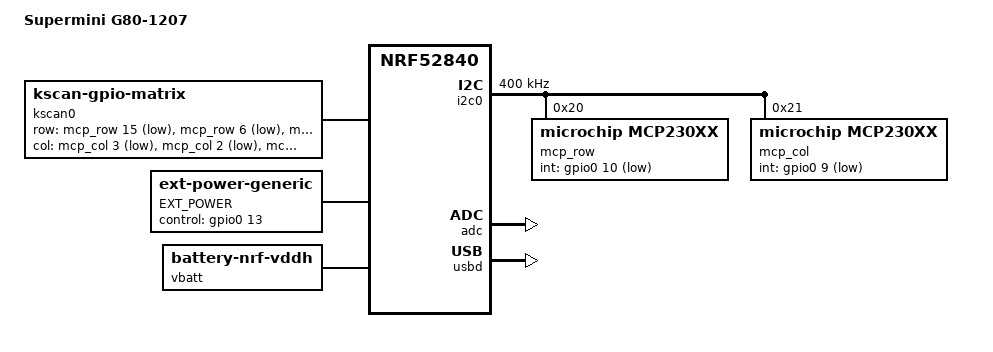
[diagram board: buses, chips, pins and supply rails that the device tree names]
/*
 * Copyright (c) 2025 DEEMEN17 WORKS
 *
 * SPDX-License-Identifier: MIT
 */

/dts-v1/;
#include <nordic/nrf52840_qiaa.dtsi>
#include <dt-bindings/led/led.h>

#include "supermini_g80_1207-transforms.dtsi"
#include "supermini_g80_1207-pinctrl.dtsi"
#include "supermini_g80_1207-layouts.dtsi"


/ {
    model = "Supermini G80-1207";
    compatible = "DEEMEN17-WORKS";

    chosen {
        zephyr,code-partition = &code_partition;
        zephyr,sram = &sram0;
        zephyr,flash = &flash0;
        zmk,battery = &vbatt;
        zmk,kscan = &kscan0;
        // zmk,matrix-transform = &default_transform;
        zmk,studio-rpc-uart = &cdc_acm_uart;
    };

    kscan0: kscan {
        compatible = "zmk,kscan-gpio-matrix";
        wakeup-source;

        // diode-direction = "col2row";
        // row-gpios
        //     = <&gpio0 17  (GPIO_ACTIVE_HIGH | GPIO_PULL_DOWN)>   /* ROW 0 */
        //     , <&gpio0 22  (GPIO_ACTIVE_HIGH | GPIO_PULL_DOWN)>   /* ROW 1 */
        //     , <&gpio0 11  (GPIO_ACTIVE_HIGH | GPIO_PULL_DOWN)>   /* ROW 2 */
        //     , <&gpio1  4  (GPIO_ACTIVE_HIGH | GPIO_PULL_DOWN)>   /* ROW 3 */
        //     , <&gpio0  9  (GPIO_ACTIVE_HIGH | GPIO_PULL_DOWN)>   /* ROW 4 TRUE */
        //     , <&gpio0 31  (GPIO_ACTIVE_HIGH | GPIO_PULL_DOWN)>   /* ROW 5 */
        //     , <&gpio0 29  (GPIO_ACTIVE_HIGH | GPIO_PULL_DOWN)>   /* ROW 6 */
        //     , <&gpio0  2  (GPIO_ACTIVE_HIGH | GPIO_PULL_DOWN)>   /* ROW 7 */
        //     , <&gpio0 20  (GPIO_ACTIVE_HIGH | GPIO_PULL_DOWN)>   /* ROW 8 TRUE */ 
        //     , <&gpio1 15  (GPIO_ACTIVE_HIGH | GPIO_PULL_DOWN)>   /* ROW 9 */
        //     , <&gpio1 13  (GPIO_ACTIVE_HIGH | GPIO_PULL_DOWN)>   /* ROW 10 */
        //     , <&gpio1  0  (GPIO_ACTIVE_HIGH | GPIO_PULL_DOWN)>   /* ROW 11 TRUE */
        //     , <&gpio0 24  (GPIO_ACTIVE_HIGH | GPIO_PULL_DOWN)>   /* ROW 12 TRUE */
        //     ;

        // col-gpios
        //     = <&mcp_col  3  GPIO_ACTIVE_HIGH>   /* COL 0 */
        //     , <&mcp_col  2  GPIO_ACTIVE_HIGH>   /* COL 1 */
        //     , <&mcp_col  1  GPIO_ACTIVE_HIGH>   /* COL 2 */
        //     , <&mcp_col  0  GPIO_ACTIVE_HIGH>   /* COL 3 */
        //     , <&mcp_col  7  GPIO_ACTIVE_HIGH>   /* COL 4 */
        //     , <&mcp_col  6  GPIO_ACTIVE_HIGH>   /* COL 5 */
        //     , <&mcp_col  5  GPIO_ACTIVE_HIGH>   /* COL 6 */
        //     , <&mcp_col  4  GPIO_ACTIVE_HIGH>   /* COL 7 */
        //     ;

        diode-direction = "row2col";
        row-gpios
            = <&mcp_row 15  (GPIO_ACTIVE_LOW | GPIO_PULL_UP)>   /* ROW 0 */
            , <&mcp_row  6  (GPIO_ACTIVE_LOW | GPIO_PULL_UP)>   /* ROW 1 */
            , <&mcp_row 14  (GPIO_ACTIVE_LOW | GPIO_PULL_UP)>   /* ROW 2 */
            , <&mcp_row  5  (GPIO_ACTIVE_LOW | GPIO_PULL_UP)>   /* ROW 3 */
            , <&mcp_row  3  (GPIO_ACTIVE_LOW | GPIO_PULL_UP)>   /* ROW 4 */
            , <&mcp_row 13  (GPIO_ACTIVE_LOW | GPIO_PULL_UP)>   /* ROW 5 */
            , <&mcp_row  4  (GPIO_ACTIVE_LOW | GPIO_PULL_UP)>   /* ROW 6 */
            , <&mcp_row 12  (GPIO_ACTIVE_LOW | GPIO_PULL_UP)>   /* ROW 7 */
            , <&mcp_row  1  (GPIO_ACTIVE_LOW | GPIO_PULL_UP)>   /* ROW 8 */ 
            , <&mcp_row 11  (GPIO_ACTIVE_LOW | GPIO_PULL_UP)>   /* ROW 9 */
            , <&mcp_row 10  (GPIO_ACTIVE_LOW | GPIO_PULL_UP)>   /* ROW 10 */
            , <&mcp_row  0  (GPIO_ACTIVE_LOW | GPIO_PULL_UP)>   /* ROW 11 */
            , <&mcp_row  2  (GPIO_ACTIVE_LOW | GPIO_PULL_UP)>   /* ROW 12 */
            ;

        col-gpios
            = <&mcp_col  3  GPIO_ACTIVE_LOW>   /* COL 0 */
            , <&mcp_col  2  GPIO_ACTIVE_LOW>   /* COL 1 */
            , <&mcp_col  1  GPIO_ACTIVE_LOW>   /* COL 2 */
            , <&mcp_col  0  GPIO_ACTIVE_LOW>   /* COL 3 */
            , <&mcp_col  7  GPIO_ACTIVE_LOW>   /* COL 4 */
            , <&mcp_col  6  GPIO_ACTIVE_LOW>   /* COL 5 */
            , <&mcp_col  5  GPIO_ACTIVE_LOW>   /* COL 6 */
            , <&mcp_col  4  GPIO_ACTIVE_LOW>   /* COL 7 */
            ;

    };

    EXT_POWER {
        compatible = "zmk,ext-power-generic";
        control-gpios = <&gpio0 13 GPIO_ACTIVE_HIGH>;
        init-delay-ms = <50>;
    };

    vbatt: vbatt {
        compatible = "zmk,battery-nrf-vddh";
    };

    leds {
        compatible = "gpio-leds";
        // blue_led: led_0 {
        //     gpios = <&gpio0 15 GPIO_ACTIVE_HIGH>;
        // };
        // led_caps: led_caps {
        //     gpios = <&gpio0  2 GPIO_ACTIVE_HIGH>;
        // };
        // led_num: led_num {
        //     gpios = <&gpio1 13 GPIO_ACTIVE_HIGH>;
        // };
        // led_scroll: led_scroll {
        //     gpios = <&gpio1 15 GPIO_ACTIVE_HIGH>;
        // };
    };

};

&i2c0 {
    status = "okay";
    compatible = "nordic,nrf-twi";
    pinctrl-0 = <&i2c0_default>;
    pinctrl-1 = <&i2c0_sleep>;
    pinctrl-names = "default", "sleep";
    clock-frequency = <I2C_BITRATE_FAST>;

    mcp_row: mcp23017@20 {
        compatible = "microchip,mcp230xx";
        status = "okay";
        gpio-controller;
        reg = <0x20>;
        #gpio-cells = <2>;
        ngpios = <16>;
        int-gpios = <&gpio0 10 GPIO_ACTIVE_LOW>;
    };

    mcp_col: mcp23017@21 {
        compatible = "microchip,mcp230xx";
        status = "okay";
        gpio-controller;
        reg = <0x21>;
        #gpio-cells = <2>;
        ngpios = <16>;
        int-gpios = <&gpio0 9 GPIO_ACTIVE_LOW>;
    };
};

&adc {
    status = "okay";
};

&gpiote {
    status = "okay";
};

&gpio0 {
    status = "okay";
};

&gpio1 {
    status = "okay";
};

zephyr_udc0: &usbd {
    status = "okay";
};

&usbd {
    status = "okay";
    cdc_acm_uart: cdc_acm_uart {
        compatible = "zephyr,cdc-acm-uart";
    };
};

&flash0 {
    /*
     * For more information, see:
     * http://docs.zephyrproject.org/latest/devices/dts/flash_partitions.html
     */
    partitions {
        compatible = "fixed-partitions";
        #address-cells = <1>;
        #size-cells = <1>;

        sd_partition: partition@0 {
            reg = <0x00000000 0x00026000>;
        };
        code_partition: partition@26000 {
            reg = <0x00026000 0x000c6000>;
        };

        /*
         * The flash starting at 0x000ec000 and ending at
         * 0x000f3fff is reserved for use by the application.
         */

        /*
         * Storage partition will be used by FCB/LittleFS/NVS
         * if enabled.
         */
        storage_partition: partition@ec000 {
            reg = <0x000ec000 0x00008000>;
        };

        boot_partition: partition@f4000 {
            reg = <0x000f4000 0x0000c000>;
        };
    };
};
